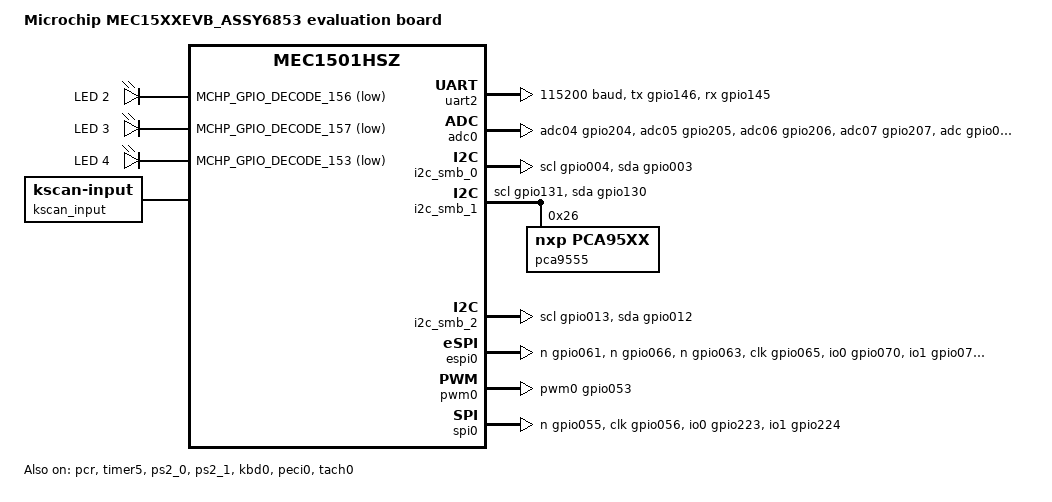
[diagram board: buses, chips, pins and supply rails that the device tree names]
/*
 * Copyright (c) 2018, Intel Corporation
 *
 * SPDX-License-Identifier: Apache-2.0
 */

/dts-v1/;

#include "mec15xxevb_assy6853-pinctrl.dtsi"

/ {
	model = "Microchip MEC15XXEVB_ASSY6853 evaluation board";
	compatible = "microchip,mec15xxevb_assy6853", "microchip,mec1501hsz";

	chosen {
		zephyr,sram = &sram0;
		zephyr,console = &uart2;
		zephyr,flash = &flash0;
		zephyr,keyboard-scan = &kscan_input;
	};

	aliases {
		led0 = &led2;
		led1 = &led3;
		led2 = &led4;
		pwm-0 = &pwm0;
		peci-0 = &peci0;
		i2c0 = &i2c_smb_0;
		i2c-0 = &i2c_smb_0;
		i2c1 = &i2c_smb_1;
		i2c7 = &i2c_smb_2;
		kscan0 = &kscan_input;
		watchdog0 = &wdog;
	};

	leds {
		compatible = "gpio-leds";
		led2: led_0 {
			/* GPIO156/LED0 on schematic,
			 * LED2 on silkscreen.
			 */
			gpios = <MCHP_GPIO_DECODE_156 GPIO_ACTIVE_LOW>;
			label = "LED 2";
		};
		led3: led_1 {
			/* GPIO157/LED1 on schematic,
			 * LED3 on silkscreen.
			 */
			gpios = <MCHP_GPIO_DECODE_157 GPIO_ACTIVE_LOW>;
			label = "LED 3";
		};
		led4: led_2 {
			/* GPIO153/LED2 on schematic,
			 * LED4 on silkscreen.
			 */
			gpios = <MCHP_GPIO_DECODE_153 GPIO_ACTIVE_LOW>;
			label = "LED 4";
		};
	};
};

&pcr {
	status = "okay";
};

&uart2 {
	status = "okay";
	current-speed = <115200>;
	pinctrl-0 = <&uart2_tx_gpio146 &uart2_rx_gpio145>;
	pinctrl-names = "default";
};

&adc0 {
	status = "okay";
	pinctrl-0 = <&adc04_gpio204 &adc05_gpio205
		     &adc06_gpio206 &adc07_gpio207
		     &vref2_adc_gpio067 >;
	pinctrl-names = "default";
};

&i2c_smb_0 {
	status = "okay";
	port_sel = <0>;
	sda-gpios = <MCHP_GPIO_DECODE_003 0>;
	scl-gpios = <MCHP_GPIO_DECODE_004 0>;
	pinctrl-0 = < &i2c00_scl_gpio004 &i2c00_sda_gpio003 >;
	pinctrl-names = "default";
};

&i2c_smb_1 {
	status = "okay";
	port_sel = <1>;
	sda-gpios = <MCHP_GPIO_DECODE_130 0>;
	scl-gpios = <MCHP_GPIO_DECODE_131 0>;
	pinctrl-0 = < &i2c01_scl_gpio131 &i2c01_sda_gpio130 >;
	pinctrl-names = "default";

	pca9555@26 {
		compatible = "nxp,pca95xx";

		/* Depends on JP53 for device address.
		 * Pin 1-2 = A0, pin 3-4 = A1, pin 5-6 = A2.
		 * Address is: 0100<A2><A1><A0>b.
		 *
		 * Default has pin 1-2 on JP53 connected,
		 * resulting in device address 0x26.
		 */
		reg = <0x26>;

		gpio-controller;
		#gpio-cells = <2>;
	};
};

&i2c_smb_2 {
	status = "okay";
	port_sel = <7>;
	sda-gpios = <MCHP_GPIO_DECODE_012 0>;
	scl-gpios = <MCHP_GPIO_DECODE_013 0>;
	pinctrl-0 = < &i2c07_scl_gpio013 &i2c07_sda_gpio012 >;
	pinctrl-names = "default";
};

&espi0 {
	status = "okay";
	io_girq = <19>;
	vw_girqs = <24 25>;
	pc_girq = <15>;
	pinctrl-0 = < &espi_reset_n_gpio061 &espi_cs_n_gpio066
		  &espi_alert_n_gpio063 &espi_clk_gpio065
		  &espi_io0_gpio070 &espi_io1_gpio071
		  &espi_io2_gpio072 &espi_io3_gpio073 >;
	pinctrl-names = "default";
};

&timer5 {
	status = "okay";
};

&ps2_0 {
	status = "okay";
	pinctrl-0 = <&ps2_clk0b_gpio007 &ps2_dat0b_gpio010>;
	pinctrl-1 = <&ps2_clk0b_gpio007_sleep &ps2_dat0b_gpio010_sleep>;
	pinctrl-names = "default", "sleep";
};

&ps2_1 {
	status = "okay";
	pinctrl-0 = <&ps2_clk1b_gpio154 &ps2_dat1b_gpio155>;
	pinctrl-1 = <&ps2_clk1b_gpio154_sleep &ps2_dat1b_gpio155_sleep>;
	pinctrl-names = "default", "sleep";
};

&pwm0 {
	status = "okay";
	pinctrl-0 = <&pwm0_gpio053>;
	pinctrl-names = "default";
};

&kbd0 {
	status = "okay";

	pinctrl-0 = < &kso00_gpio040 &kso01_gpio045 &kso02_gpio046 &kso12_gpio125
		      &kso13_gpio126 &kso03_gpio047 &kso04_gpio107 &kso05_gpio112
		      &kso06_gpio113 &kso14_gpio152 &kso15_gpio151 &kso07_gpio120
		      &kso08_gpio121 &kso09_gpio122 &kso10_gpio123 &kso11_gpio124
		      &ksi0_gpio017  &ksi1_gpio020  &ksi2_gpio021  &ksi3_gpio026
		      &ksi4_gpio027  &ksi5_gpio030  &ksi6_gpio031  &ksi7_gpio032 >;
	pinctrl-1 = < &kso00_gpio040_sleep &kso01_gpio045_sleep &kso02_gpio046_sleep
		      &kso12_gpio125_sleep &kso13_gpio126_sleep &kso03_gpio047_sleep
		      &kso04_gpio107_sleep &kso05_gpio112_sleep &kso06_gpio113_sleep
		      &kso14_gpio152_sleep &kso15_gpio151_sleep &kso07_gpio120_sleep
		      &kso08_gpio121_sleep &kso09_gpio122_sleep &kso10_gpio123_sleep
		      &kso11_gpio124_sleep &ksi0_gpio017_sleep  &ksi1_gpio020_sleep
		      &ksi2_gpio021_sleep  &ksi3_gpio026_sleep  &ksi4_gpio027_sleep
		      &ksi5_gpio030_sleep  &ksi6_gpio031_sleep  &ksi7_gpio032_sleep >;
	pinctrl-names = "default", "sleep";

	kscan_input: kscan-input {
		compatible = "zephyr,kscan-input";
	};
};

&peci0 {
	status = "okay";
	pinctrl-0 = <&peci_dat_gpio042 &vref_vtt_gpio044>;
	pinctrl-1 = <&peci_dat_gpio042_sleep &vref_vtt_gpio044_sleep>;
	pinctrl-names = "default", "sleep";
};

&spi0 {
	status = "okay";
	port_sel = <0>;
	chip_select = <0>;
	lines = <1>;
	pinctrl-0 = < &shd_cs0_n_gpio055
		      &shd_clk_gpio056
		      &shd_io0_gpio223
		      &shd_io1_gpio224 >;
	pinctrl-names = "default";
};

&tach0 {
	status = "okay";
	pinctrl-0 = <&ict0_tach0_gpio050>;
	pinctrl-names = "default";
};
